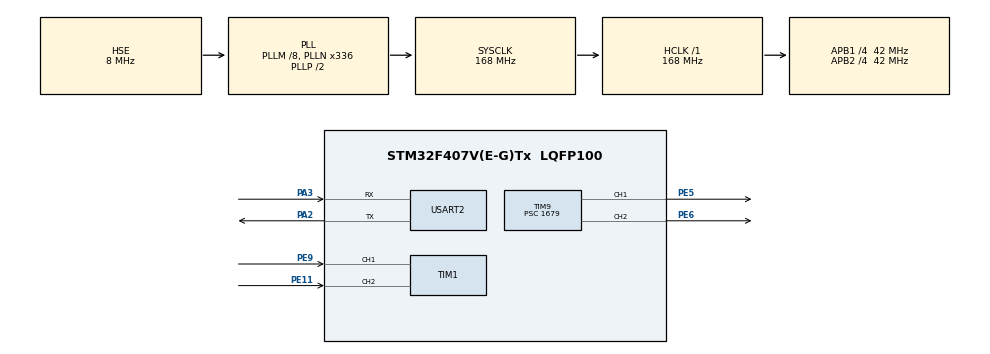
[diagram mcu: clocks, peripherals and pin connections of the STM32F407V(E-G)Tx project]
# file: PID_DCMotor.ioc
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Mcu.Family=STM32F4
RCC.PLLSourceVirtual=RCC_PLLSOURCE_HSE
TIM9.Channel-PWM\ Generation1\ CH1=TIM_CHANNEL_1
PH0-OSC_IN.Signal=RCC_OSC_IN
RCC.CortexFreq_Value=168000000
TIM1.EncoderMode=TIM_ENCODERMODE_TI12
RCC.APB1CLKDivider=RCC_HCLK_DIV4
NVIC.USART2_IRQn=true\:0\:0\:false\:false\:true\:true\:true
RCC.SYSCLKSource=RCC_SYSCLKSOURCE_PLLCLK
ProjectManager.StackSize=0x400
PA13.Signal=SYS_JTMS-SWDIO
PA3.Mode=Asynchronous
SH.S_TIM1_CH1.0=TIM1_CH1,Encoder_Interface
ProjectManager.TargetToolchain=STM32CubeIDE
SH.S_TIM9_CH2.0=TIM9_CH2,PWM Generation2 CH2
RCC.HCLKFreq_Value=168000000
RCC.APB2TimFreq_Value=84000000
TIM3.Period=2999
PE5.Signal=S_TIM9_CH1
RCC.LSE_VALUE=32768
PE11.Signal=S_TIM1_CH2
RCC.AHBFreq_Value=168000000
PH0-OSC_IN.Mode=HSE-External-Oscillator
RCC.HSE_VALUE=8000000
board=custom
RCC.VCOOutputFreq_Value=336000000
NVIC.TIM3_IRQn=true\:0\:0\:false\:false\:true\:true\:true
RCC.APB2Freq_Value=42000000
SH.S_TIM1_CH2.0=TIM1_CH2,Encoder_Interface
PE9.Signal=S_TIM1_CH1
PA14.Mode=Serial_Wire
TIM3.Prescaler=839
SH.S_TIM9_CH1.0=TIM9_CH1,PWM Generation1 CH1
PH1-OSC_OUT.Signal=RCC_OSC_OUT
PE6.Signal=S_TIM9_CH2
PA13.Mode=Serial_Wire
Mcu.Name=STM32F407V(E-G)Tx
PA2.Signal=USART2_TX
TIM9.Prescaler=1679
PH1-OSC_OUT.Mode=HSE-External-Oscillator
RCC.48MHZClocksFreq_Value=84000000
RCC.SYSCLKFreq_VALUE=168000000
Mcu.Package=LQFP100
USART2.VirtualMode=VM_ASYNC
PA14.Signal=SYS_JTCK-SWCLK
ProjectManager.HeapSize=0x200
RCC.HSI_VALUE=16000000
NVIC.PriorityGroup=NVIC_PRIORITYGROUP_4
RCC.APB2CLKDivider=RCC_HCLK_DIV4
RCC.PLLM=8
RCC.PLLN=336
RCC.APB1TimFreq_Value=84000000
PA2.Mode=Asynchronous
RCC.APB1Freq_Value=42000000
VP_TIM3_VS_ClockSourceINT.Mode=Internal
TIM9.Period=999
PA3.Signal=USART2_RX
TIM9.Channel-PWM\ Generation2\ CH2=TIM_CHANNEL_2

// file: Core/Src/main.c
/* USER CODE BEGIN Header */
/**
  ******************************************************************************
  * @file           : main.c
  * @brief          : Main program body
  ******************************************************************************
  * @attention
  *
  * <h2><center>&copy; Copyright (c) 2021 STMicroelectronics.
  * All rights reserved.</center></h2>
  *
  * This software component is licensed by ST under BSD 3-Clause license,
  * the "License"; You may not use this file except in compliance with the
  * License. You may obtain a copy of the License at:
  *                        opensource.org/licenses/BSD-3-Clause
  *
  ******************************************************************************
  */
/* USER CODE END Header */
#include "main.h"

/* USER CODE BEGIN Includes */
#include <stdio.h>
#include <stdint.h>
#include <string.h>
/* USER CODE END Includes */

/* USER CODE BEGIN PTD */
typedef struct {
	float Kp;
	float Ki;
	float Kd;
	float ek_1;
	float I_part;
} PID_t;

enum
{
     ModeIdle = 0,
     ModePidPos
}ModeEnum;
uint8_t ProcessMode = ModeIdle;
/* USER CODE END PTD */

/* USER CODE BEGIN PD */
#define Ts 0.03f
#define PPR 1320.0f
/* USER CODE END PD */

TIM_HandleTypeDef htim1;
TIM_HandleTypeDef htim3;
TIM_HandleTypeDef htim9;

UART_HandleTypeDef huart2;

/* USER CODE BEGIN PV */
PID_t ParaPID;
int32_t EncPos;
int16_t EncVel;

float speed[2];
float u_control;
float setpoint;

char ProcessFlag = 0;
char TXData[40];
char RXData_Buff[40];
uint8_t RXData;
uint8_t RXIndex = 0;
uint8_t SysQuest = 5; //Start = 0, Stop = 1, Reset = 2
uint8_t Temp;
/* USER CODE END PV */

void SystemClock_Config(void);
static void MX_GPIO_Init(void);
static void MX_TIM1_Init(void);
static void MX_TIM3_Init(void);
static void MX_TIM9_Init(void);
static void MX_USART2_UART_Init(void);

/* USER CODE BEGIN 0 */
void read_encoder()
{
	EncVel = (int16_t)(htim1.Instance->CNT * -1);//Do cấm dây ngu nên nhân -1 đảo lại chiều quay cho đúng
	EncPos += EncVel;
	htim1.Instance->CNT=0;
}

void HAL_TIM_PeriodElapsedCallback(TIM_HandleTypeDef *htim)
{

	if(htim->Instance == TIM3)
	{
		read_encoder();
		speed[0] = EncVel * 60.0f/ Ts / PPR;
		speed[1] = 0.1 * speed[1] + 0.9 * speed[0];
		ProcessFlag=1;
	}
}

void PID_controller(float SP, float PV, PID_t *pid, float *u)
{
	float ek;
	ek = SP - PV;
	pid->I_part += Ts*ek;
	*u = pid->Kp*ek + pid->Ki*pid->I_part + pid->Kd*(ek-pid->ek_1)/Ts;
//	if (ek > 0.02 * setpoint)
//	{
//		pid->I_part += Ts*ek;
//		*u += pid->Ki*pid->I_part;
//	}
	pid->ek_1 = ek;
}

void xuat_PWM(float duty)  //use timer 9 to export PWM, 50KHz
{
	if (duty > 1) duty = 1;
	else if (duty < -1) duty = -1;
	int16_t pwm = duty*900;
	if (pwm>0)
		{
			htim9.Instance->CCR1=0;
			htim9.Instance->CCR2=pwm;
		}
	else
		{
			pwm *= -1;
			htim9.Instance->CCR2=0;
			htim9.Instance->CCR1=pwm;
		}
}

void process_RXData(void)
{
	if(RXData_Buff[0] == '0')
	{
		sscanf(RXData_Buff, "%u %u %u", &Temp, &SysQuest, &ProcessMode);
		if (SysQuest == 0)
		{
			/*sprintf(TXData, "%u %u\n", 1, SysQuest);
			HAL_UART_Transmit(&huart2, (uint8_t *)TXData, strlen(TXData), 30);*/
		}
		if (SysQuest == 1)
		{
			EncPos = 0;
			EncVel = 0;
			/*sprintf(TXData, "%u %u\n", 1, SysQuest);
			HAL_UART_Transmit(&huart2, (uint8_t *)TXData, strlen(TXData), 30);*/
		}
		if (SysQuest == 2)
		{
			memset(&ParaPID, 0, sizeof(PID_t));
			memset(speed, 0, strlen(TXData));
			setpoint = 0;
			EncPos = 0;
			EncVel = 0;
			u_control = 0;
			/*sprintf(TXData, "%u %u\n", 1, SysQuest);
			HAL_UART_Transmit(&huart2, (uint8_t *)TXData, strlen(TXData), 30);*/
		}
	}
	if(RXData_Buff[0] == '1')
	{
		sscanf(RXData_Buff, "%u %f %f %f %f", &Temp, &ParaPID.Kp, &ParaPID.Ki, &ParaPID.Kd, &setpoint);
  		sprintf(TXData, "%u %.2f %.2f %.2f %.2f\n", 2, ParaPID.Kp, ParaPID.Ki, ParaPID.Kd, setpoint);
  		HAL_UART_Transmit(&huart2, (uint8_t *)TXData, strlen(TXData), 30);
	}
	memset(TXData, 0, 20);
}

void HAL_UART_RxCpltCallback(UART_HandleTypeDef *huart)
{
	if(huart->Instance == huart2.Instance)
	{
		if(RXData != '\n') //line feed Ascii
		{
			RXData_Buff[RXIndex++] = RXData; //Save data in Rxbuff
		}
		else if (RXData == '\n')
		{
			RXIndex = 0;
			process_RXData();
		}
		HAL_UART_Receive_IT(&huart2, &RXData, 1);
	}
}

/* USER CODE END 0 */

int main(void)
{

  /* MCU Configuration--------------------------------------------------------*/

  /* Reset of all peripherals, Initializes the Flash interface and the Systick. */
  HAL_Init();

  /* Configure the system clock */
  SystemClock_Config();

  /* Initialize all configured peripherals */
  MX_GPIO_Init();
  MX_TIM1_Init();
  MX_TIM3_Init();
  MX_TIM9_Init();
  MX_USART2_UART_Init();
  /* USER CODE BEGIN 2 */
	HAL_TIM_Base_Start_IT(&htim3);
	HAL_TIM_Encoder_Start(&htim1, TIM_CHANNEL_1 | TIM_CHANNEL_2);
	HAL_TIM_PWM_Start(&htim9, TIM_CHANNEL_1);
	HAL_TIM_PWM_Start(&htim9, TIM_CHANNEL_2);
	HAL_UART_Receive_IT(&huart2, &RXData, 1);
  /* USER CODE END 2 */

  /* Infinite loop */
  while (1)
  {

    /* USER CODE BEGIN 3 */
	  xuat_PWM(u_control);
	  if (ProcessFlag)
		  {
			  ProcessFlag = 0;
			  switch(ProcessMode)
			  {
				  case ModeIdle:
					  u_control = 0;
					  break;
				  case ModePidPos:
					  PID_controller(setpoint,((float)EncPos/PPR*360),&ParaPID, &u_control);
					  sprintf(TXData, "%u %.1f %.2f\n", 0, ((float)EncPos/PPR*360), u_control);
					  HAL_UART_Transmit(&huart2, (uint8_t *)TXData, strlen(TXData), 30);
					  break;
			  }
			  memset(TXData, 0, 20);
		  }
  }
  /* USER CODE END 3 */
}

void SystemClock_Config(void)
{
  RCC_OscInitTypeDef RCC_OscInitStruct = {0};
  RCC_ClkInitTypeDef RCC_ClkInitStruct = {0};

  /** Configure the main internal regulator output voltage
  */
  __HAL_RCC_PWR_CLK_ENABLE();
  __HAL_PWR_VOLTAGESCALING_CONFIG(PWR_REGULATOR_VOLTAGE_SCALE1);
  /** Initializes the RCC Oscillators according to the specified parameters
  * in the RCC_OscInitTypeDef structure.
  */
  RCC_OscInitStruct.OscillatorType = RCC_OSCILLATORTYPE_HSE;
  RCC_OscInitStruct.HSEState = RCC_HSE_ON;
  RCC_OscInitStruct.PLL.PLLState = RCC_PLL_ON;
  RCC_OscInitStruct.PLL.PLLSource = RCC_PLLSOURCE_HSE;
  RCC_OscInitStruct.PLL.PLLM = 8;
  RCC_OscInitStruct.PLL.PLLN = 336;
  RCC_OscInitStruct.PLL.PLLP = RCC_PLLP_DIV2;
  RCC_OscInitStruct.PLL.PLLQ = 4;
  if (HAL_RCC_OscConfig(&RCC_OscInitStruct) != HAL_OK)
  {
    Error_Handler();
  }
  /** Initializes the CPU, AHB and APB buses clocks
  */
  RCC_ClkInitStruct.ClockType = RCC_CLOCKTYPE_HCLK|RCC_CLOCKTYPE_SYSCLK
                              |RCC_CLOCKTYPE_PCLK1|RCC_CLOCKTYPE_PCLK2;
  RCC_ClkInitStruct.SYSCLKSource = RCC_SYSCLKSOURCE_PLLCLK;
  RCC_ClkInitStruct.AHBCLKDivider = RCC_SYSCLK_DIV1;
  RCC_ClkInitStruct.APB1CLKDivider = RCC_HCLK_DIV4;
  RCC_ClkInitStruct.APB2CLKDivider = RCC_HCLK_DIV4;

  if (HAL_RCC_ClockConfig(&RCC_ClkInitStruct, FLASH_LATENCY_5) != HAL_OK)
  {
    Error_Handler();
  }
}

static void MX_TIM1_Init(void)
{

  TIM_Encoder_InitTypeDef sConfig = {0};
  TIM_MasterConfigTypeDef sMasterConfig = {0};

  htim1.Instance = TIM1;
  htim1.Init.Prescaler = 0;
  htim1.Init.CounterMode = TIM_COUNTERMODE_UP;
  htim1.Init.Period = 65535;
  htim1.Init.ClockDivision = TIM_CLOCKDIVISION_DIV1;
  htim1.Init.RepetitionCounter = 0;
  htim1.Init.AutoReloadPreload = TIM_AUTORELOAD_PRELOAD_DISABLE;
  sConfig.EncoderMode = TIM_ENCODERMODE_TI12;
  sConfig.IC1Polarity = TIM_ICPOLARITY_RISING;
  sConfig.IC1Selection = TIM_ICSELECTION_DIRECTTI;
  sConfig.IC1Prescaler = TIM_ICPSC_DIV1;
  sConfig.IC1Filter = 0;
  sConfig.IC2Polarity = TIM_ICPOLARITY_RISING;
  sConfig.IC2Selection = TIM_ICSELECTION_DIRECTTI;
  sConfig.IC2Prescaler = TIM_ICPSC_DIV1;
  sConfig.IC2Filter = 0;
  if (HAL_TIM_Encoder_Init(&htim1, &sConfig) != HAL_OK)
  {
    Error_Handler();
  }
  sMasterConfig.MasterOutputTrigger = TIM_TRGO_RESET;
  sMasterConfig.MasterSlaveMode = TIM_MASTERSLAVEMODE_DISABLE;
  if (HAL_TIMEx_MasterConfigSynchronization(&htim1, &sMasterConfig) != HAL_OK)
  {
    Error_Handler();
  }

}

static void MX_TIM3_Init(void)
{

  TIM_ClockConfigTypeDef sClockSourceConfig = {0};
  TIM_MasterConfigTypeDef sMasterConfig = {0};

  htim3.Instance = TIM3;
  htim3.Init.Prescaler = 839;
  htim3.Init.CounterMode = TIM_COUNTERMODE_UP;
  htim3.Init.Period = 2999;
  htim3.Init.ClockDivision = TIM_CLOCKDIVISION_DIV1;
  htim3.Init.AutoReloadPreload = TIM_AUTORELOAD_PRELOAD_DISABLE;
  if (HAL_TIM_Base_Init(&htim3) != HAL_OK)
  {
    Error_Handler();
  }
  sClockSourceConfig.ClockSource = TIM_CLOCKSOURCE_INTERNAL;
  if (HAL_TIM_ConfigClockSource(&htim3, &sClockSourceConfig) != HAL_OK)
  {
    Error_Handler();
  }
  sMasterConfig.MasterOutputTrigger = TIM_TRGO_RESET;
  sMasterConfig.MasterSlaveMode = TIM_MASTERSLAVEMODE_DISABLE;
  if (HAL_TIMEx_MasterConfigSynchronization(&htim3, &sMasterConfig) != HAL_OK)
  {
    Error_Handler();
  }

}

static void MX_TIM9_Init(void)
{

  TIM_OC_InitTypeDef sConfigOC = {0};

  htim9.Instance = TIM9;
  htim9.Init.Prescaler = 1679;
  htim9.Init.CounterMode = TIM_COUNTERMODE_UP;
  htim9.Init.Period = 999;
  htim9.Init.ClockDivision = TIM_CLOCKDIVISION_DIV1;
  htim9.Init.AutoReloadPreload = TIM_AUTORELOAD_PRELOAD_DISABLE;
  if (HAL_TIM_PWM_Init(&htim9) != HAL_OK)
  {
    Error_Handler();
  }
  sConfigOC.OCMode = TIM_OCMODE_PWM1;
  sConfigOC.Pulse = 0;
  sConfigOC.OCPolarity = TIM_OCPOLARITY_HIGH;
  sConfigOC.OCFastMode = TIM_OCFAST_DISABLE;
  if (HAL_TIM_PWM_ConfigChannel(&htim9, &sConfigOC, TIM_CHANNEL_1) != HAL_OK)
  {
    Error_Handler();
  }
  if (HAL_TIM_PWM_ConfigChannel(&htim9, &sConfigOC, TIM_CHANNEL_2) != HAL_OK)
  {
    Error_Handler();
  }
  HAL_TIM_MspPostInit(&htim9);

}

static void MX_USART2_UART_Init(void)
{

  huart2.Instance = USART2;
  huart2.Init.BaudRate = 115200;
  huart2.Init.WordLength = UART_WORDLENGTH_8B;
  huart2.Init.StopBits = UART_STOPBITS_1;
  huart2.Init.Parity = UART_PARITY_NONE;
  huart2.Init.Mode = UART_MODE_TX_RX;
  huart2.Init.HwFlowCtl = UART_HWCONTROL_NONE;
  huart2.Init.OverSampling = UART_OVERSAMPLING_16;
  if (HAL_UART_Init(&huart2) != HAL_OK)
  {
    Error_Handler();
  }

}

static void MX_GPIO_Init(void)
{

  /* GPIO Ports Clock Enable */
  __HAL_RCC_GPIOE_CLK_ENABLE();
  __HAL_RCC_GPIOH_CLK_ENABLE();
  __HAL_RCC_GPIOA_CLK_ENABLE();

}

void Error_Handler(void)
{
  __disable_irq();
  while (1)
  {
  }
}

/************************ (C) COPYRIGHT STMicroelectronics *****END OF FILE****/
